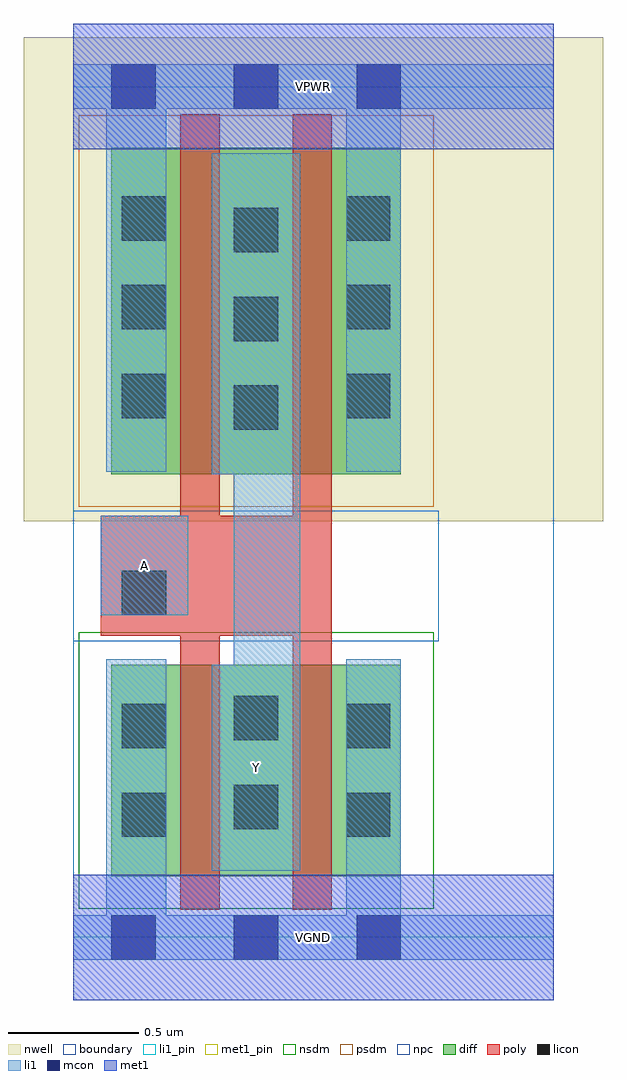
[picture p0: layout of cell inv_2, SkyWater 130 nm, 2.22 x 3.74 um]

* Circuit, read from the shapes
.subckt inv_2 A VGND VPWR Y
XM1 Y A VGND VSUBS sky130_fd_pr__nfet_01v8 w=0.81 l=0.15 m=2
XM2 Y A VPWR n1 sky130_fd_pr__pfet_01v8 w=1.25 l=0.15 m=2
.ends

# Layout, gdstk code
import gdstk
lib = gdstk.Library(unit=1e-6, precision=1e-09)
def R(c, l, rs):  # rectangles x0, y0, x1, y1
    for r in rs: c.add(gdstk.rectangle(r[:2], r[2:], *l))
def A(c, l, x, y, w, h, nx, ny, dx, dy):  # array of equal rectangles
    R(c, l, [(x+i*dx, y+j*dy, x+i*dx+w, y+j*dy+h) for i in range(nx) for j in range(ny)])
nwell = (64, 20)
diff = (65, 20)
poly = (66, 20)
licon = (66, 44)
li1_pin = (67, 16)
li1 = (67, 20)
mcon = (67, 44)
met1_pin = (68, 16)
met1 = (68, 20)
nsdm = (93, 44)
psdm = (94, 20)
npc = (95, 20)
boundary = (235, 4)

inv_2 = lib.new_cell('inv_2')
R(inv_2, nwell, [(-0.19,1.595,2.03,3.45), (0,1.595,1.84,3.45)])
R(inv_2, diff, [(0.145,0.235,1.255,1.045), (0.145,1.775,1.255,3.025)])
R(inv_2, poly, [(0.41,0.105,0.56,3.155), (0.84,0.105,0.99,3.155), (0.105,1.155,0.99,1.615)])
A(inv_2, licon, 0.615, 1.945, 0.17, 0.17, 1, 3, 0, 0.34)
A(inv_2, licon, 0.185, 1.99, 0.17, 0.17, 1, 3, 0, 0.34)
A(inv_2, licon, 1.045, 1.99, 0.17, 0.17, 1, 3, 0, 0.34)
R(inv_2, licon, [(0.185,0.385,0.355,0.555), (1.045,0.385,1.215,0.555), (0.615,0.415,0.785,0.585), (0.185,0.725,0.355,0.895), (1.045,0.725,1.215,0.895), (0.615,0.755,0.785,0.925), (0.185,1.235,0.355,1.405)])
R(inv_2, li1_pin, [(0.53,0.255,0.87,1.045), (0.105,1.235,0.44,1.615)])
R(inv_2, li1, [(0,-0.085,1.84,0.085), (0.125,-0.085,0.355,1.065), (1.045,-0.085,1.255,1.065), (0.53,0.255,0.87,1.045), (0.615,0.255,0.87,3.005), (0.105,1.235,0.44,1.615), (0.53,1.775,0.87,3.005), (0.125,1.785,0.355,3.345), (1.045,1.785,1.255,3.345), (0,3.175,1.84,3.345)])
A(inv_2, mcon, 0.145, -0.085, 0.17, 0.17, 3, 2, 0.47, 3.26)
R(inv_2, met1_pin, [(0,-0.24,1.84,0.24), (0,3.02,1.84,3.5)])
R(inv_2, met1, [(0,-0.24,1.84,0.24), (0,3.02,1.84,3.5)])
R(inv_2, nsdm, [(0.02,0.11,1.38,1.17)])
R(inv_2, psdm, [(0.02,1.65,1.38,3.15)])
R(inv_2, npc, [(0,1.135,1.4,1.635)])
R(inv_2, boundary, [(0,0,1.84,3.26)])
inv_2.add(gdstk.Label('A', (0.272,1.425), layer=67, texttype=5))
inv_2.add(gdstk.Label('Y', (0.7,0.65), layer=67, texttype=5))
inv_2.add(gdstk.Label('VPWR', (0.92,3.26), layer=68, texttype=5))
inv_2.add(gdstk.Label('VGND', (0.92,0), layer=68, texttype=5))
inv_2.add(gdstk.Label('A', (0.272,1.425), layer=67, texttype=16))
inv_2.add(gdstk.Label('Y', (0.7,0.65), layer=67, texttype=16))
inv_2.add(gdstk.Label('VPWR', (0.92,3.26), layer=68, texttype=16))
inv_2.add(gdstk.Label('VGND', (0.92,0), layer=68, texttype=16))

lib.write_gds('inv_2.gds')
